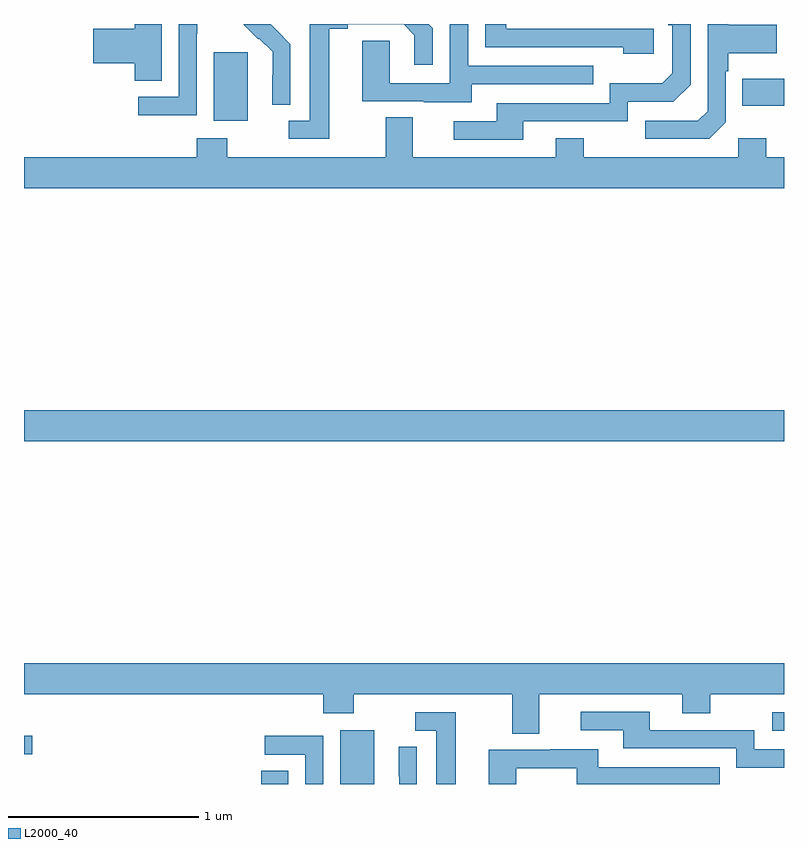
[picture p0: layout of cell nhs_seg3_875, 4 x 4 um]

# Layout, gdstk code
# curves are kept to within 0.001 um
import gdstk
lib = gdstk.Library(unit=1e-6, precision=1e-09)
def R(c, l, rs):  # rectangles x0, y0, x1, y1
    for r in rs: c.add(gdstk.rectangle(r[:2], r[2:], *l))
def P(c, l, *ps):  # polygons
    for p in ps: c.add(gdstk.Polygon(p, *l))
L2000_40 = (2000, 40)

nhs_seg3_875 = lib.new_cell('nhs_seg3_875')
R(nhs_seg3_875, L2000_40, [(156.248,744.4,156.391,744.47), (156.665,744.4,156.844,744.682), (155,744.557,155.044,744.654), (158.937,744.681,159,744.777), (155,746.204,159,746.368), (155.999,747.89,156.178,748.251), (158.779,747.971,159,748.111)])
P(nhs_seg3_875, L2000_40, [(158.694,747.882),(158.694,748.151),(158.707,748.151),(158.707,748.247),(158.963,748.247),(158.963,748.395),(158.707,748.395),(158.707,748.4),(158.598,748.4),(158.598,747.942),(158.547,747.891),(158.271,747.891),(158.271,747.795),(158.607,747.795)],
  [(157.627,747.888),(158.178,747.888),(158.178,747.99),(158.418,747.99),(158.508,748.08),(158.508,748.4),(158.392,748.4),(158.392,748.394),(158.412,748.394),(158.412,748.14),(158.359,748.087),(158.082,748.087),(158.082,747.984),(157.487,747.984),(157.487,747.888),(157.263,747.888),(157.263,747.792),(157.627,747.792)],
  [(156.607,748.376),(156.703,748.376),(156.703,748.398),(156.998,748.398),(157.055,748.341),(157.055,748.185),(157.152,748.185),(157.152,748.378),(157.13,748.4),(156.502,748.4),(156.503,747.891),(156.393,747.891),(156.393,747.795),(156.607,747.795)],
  [(157.357,748.083),(157.997,748.083),(157.997,748.179),(157.338,748.179),(157.338,748.4),(157.242,748.4),(157.242,748.089),(156.924,748.089),(156.924,748.313),(156.779,748.313),(156.779,747.993),(157.103,747.993),(157.103,747.989),(157.357,747.989)],
  [(155.725,748.4),(155.582,748.4),(155.582,748.376),(155.364,748.376),(155.364,748.193),(155.582,748.193),(155.582,748.102),(155.725,748.102)],
  [(158.314,748.374),(157.537,748.374),(157.537,748.4),(157.428,748.4),(157.428,748.278),(158.153,748.278),(158.153,748.244),(158.314,748.244)],
  [(155.91,748.348),(155.913,748.348),(155.913,748.4),(155.814,748.4),(155.814,748.017),(155.601,748.017),(155.601,747.919),(155.91,747.919)],
  [(156.402,748.294),(156.298,748.4),(156.157,748.4),(156.157,748.397),(156.234,748.32),(156.237,748.323),(156.308,748.253),(156.308,748.13),(156.306,748.13),(156.306,747.976),(156.402,747.976)],
  [(156.905,747.908),(156.905,747.7),(156.069,747.7),(156.069,747.799),(155.909,747.799),(155.909,747.7),(155,747.7),(155,747.536),(159,747.536),(159,747.7),(158.907,747.7),(158.907,747.799),(158.76,747.799),(158.76,747.7),(157.947,747.7),(157.947,747.799),(157.799,747.799),(157.799,747.7),(157.045,747.7),(157.045,747.908)],
  [(157.711,744.872),(158.465,744.872),(158.465,744.773),(158.613,744.773),(158.613,744.872),(159,744.872),(159,745.036),(155,745.036),(155,744.872),(156.575,744.872),(156.575,744.773),(156.735,744.773),(156.735,744.872),(157.571,744.872),(157.571,744.664),(157.711,744.664)],
  [(159,744.582),(158.844,744.582),(158.844,744.684),(158.293,744.684),(158.293,744.78),(157.929,744.78),(157.929,744.684),(158.153,744.684),(158.153,744.588),(158.748,744.588),(158.748,744.485),(159,744.485)],
  [(157.273,744.777),(157.059,744.777),(157.059,744.681),(157.169,744.681),(157.169,744.4),(157.273,744.4)],
  [(156.576,744.654),(156.267,744.654),(156.267,744.555),(156.48,744.555),(156.48,744.4),(156.576,744.4)],
  [(157.068,744.596),(156.972,744.596),(156.972,744.442),(156.974,744.442),(156.974,744.4),(157.068,744.4)],
  [(157.59,744.483),(157.908,744.483),(157.908,744.4),(158.663,744.4),(158.663,744.489),(158.023,744.489),(158.023,744.583),(157.769,744.583),(157.769,744.579),(157.445,744.579),(157.445,744.4),(157.59,744.4)])

lib.write_gds('nhs_seg3_875.gds')
